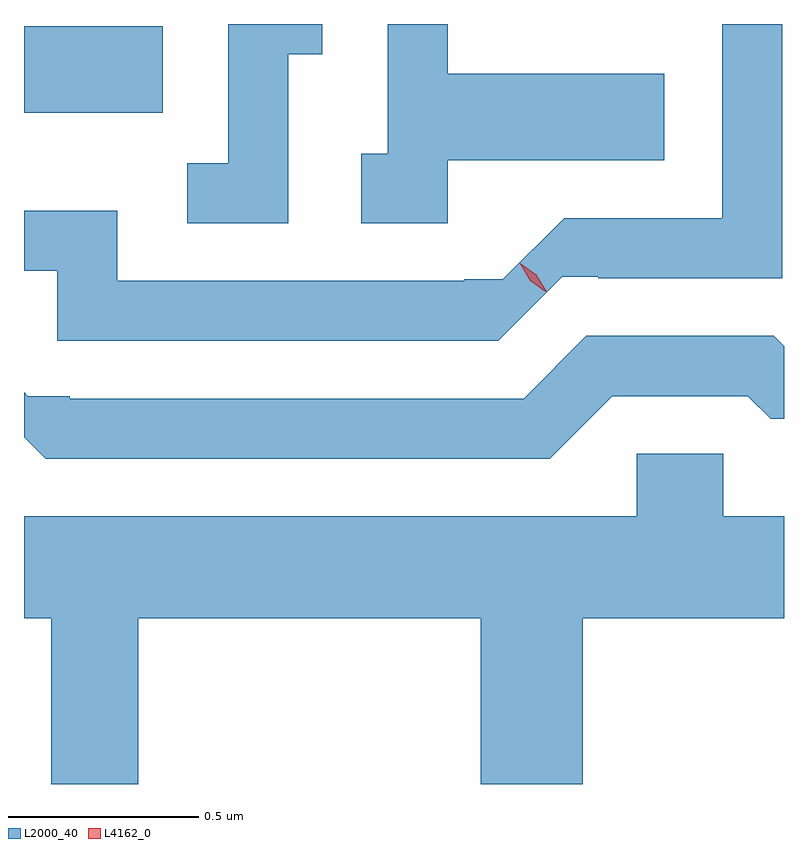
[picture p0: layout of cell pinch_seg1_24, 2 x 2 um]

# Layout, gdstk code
import gdstk
lib = gdstk.Library(unit=1e-6, precision=1e-09)
def R(c, l, rs):  # rectangles x0, y0, x1, y1
    for r in rs: c.add(gdstk.rectangle(r[:2], r[2:], *l))
def P(c, l, *ps):  # polygons
    for p in ps: c.add(gdstk.Polygon(p, *l))
L2000_40 = (2000, 40)
L4162_0 = (4162, 0)

pinch_seg1_24 = lib.new_cell('pinch_seg1_24')
R(pinch_seg1_24, L2000_40, [(1812.274,876.486,1812.639,876.714)])
P(pinch_seg1_24, L2000_40, [(1813.389,876.361),(1813.959,876.361),(1813.959,876.589),(1813.389,876.589),(1813.389,876.72),(1813.231,876.72),(1813.231,876.379),(1813.161,876.379),(1813.161,876.196),(1813.389,876.196)],
  [(1813.691,876.055),(1813.785,876.055),(1813.785,876.051),(1814.269,876.051),(1814.269,876.72),(1814.111,876.72),(1814.111,876.209),(1813.696,876.209),(1813.534,876.048),(1813.432,876.048),(1813.432,876.044),(1812.519,876.044),(1812.519,876.229),(1812.274,876.229),(1812.274,876.071),(1812.361,876.071),(1812.361,875.886),(1813.522,875.886)],
  [(1812.969,876.641),(1813.059,876.641),(1813.059,876.72),(1812.811,876.72),(1812.811,876.354),(1812.703,876.354),(1812.703,876.196),(1812.969,876.196)],
  [(1813.822,875.741),(1814.179,875.741),(1814.239,875.681),(1814.274,875.681),(1814.274,875.872),(1814.247,875.899),(1813.754,875.899),(1813.589,875.734),(1812.395,875.734),(1812.395,875.741),(1812.284,875.741),(1812.274,875.751),(1812.274,875.633),(1812.331,875.576),(1813.657,875.576)],
  [(1812.574,875.156),(1813.476,875.156),(1813.476,874.72),(1813.744,874.72),(1813.744,875.156),(1814.274,875.156),(1814.274,875.424),(1814.114,875.424),(1814.114,875.589),(1813.886,875.589),(1813.886,875.424),(1812.274,875.424),(1812.274,875.156),(1812.346,875.156),(1812.346,874.72),(1812.574,874.72)])
P(pinch_seg1_24, L4162_0, [(1813.649,876.014),(1813.607,876.046),(1813.579,876.091),(1813.579,876.091),(1813.58,876.091),(1813.622,876.06),(1813.65,876.015),(1813.65,876.014)],
  [(1813.645,876.017),(1813.606,876.045),(1813.581,876.086),(1813.581,876.087),(1813.582,876.087),(1813.621,876.058),(1813.645,876.017),(1813.645,876.017)])

lib.write_gds('pinch_seg1_24.gds')
